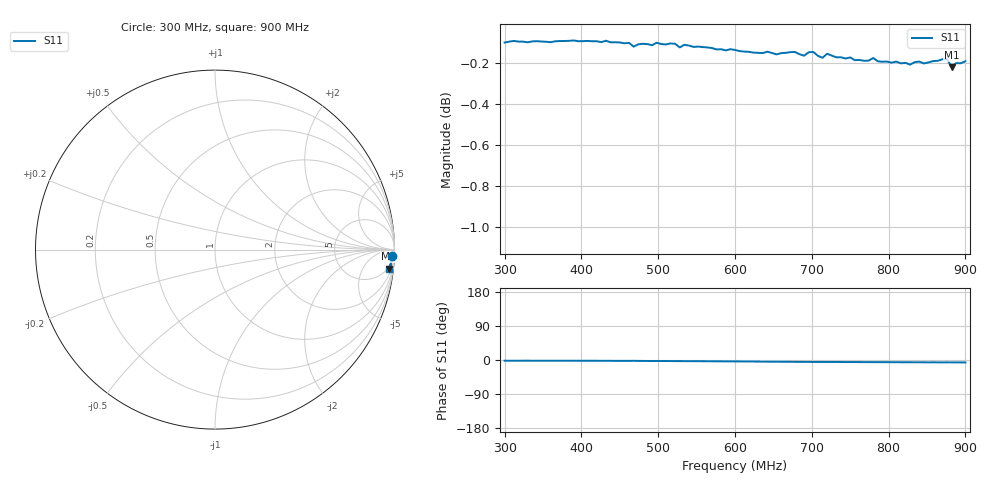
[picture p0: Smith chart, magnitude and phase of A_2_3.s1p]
# HZ S RI R 50
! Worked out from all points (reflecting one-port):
!   101 points, 300 MHz to 900 MHz, reference 50 ohm
!   lowest |S11| = -0.2 dB at 882 MHz (marker M1), VSWR 78.54, Z = 204 - j869 ohm
!   phase of S11 starts at -2 deg and turns -4 deg over the sweep
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3e8  0.9878 -0.033
3.78e8  0.9887 -0.0336
4.5e8  0.9877 -0.0382
4.62e8  0.9874 -0.04
4.68e8  0.9855 -0.0364
4.74e8  0.9865 -0.041
4.86e8  0.9865 -0.0442
5.22e8  0.9865 -0.0491
5.28e8  0.9844 -0.0502
6e8  0.9822 -0.0652
6.24e8  0.9804 -0.0688
6.3e8  0.98 -0.0734
6.54e8  0.9789 -0.0759
6.78e8  0.9797 -0.0826
6.9e8  0.9775 -0.0843
6.96e8  0.9794 -0.0844
7.02e8  0.9792 -0.0885
7.14e8  0.9761 -0.0873
7.2e8  0.9783 -0.0879
7.5e8  0.9759 -0.092
7.8e8  0.975 -0.0972
8.28e8  0.9711 -0.1
8.52e8  0.9717 -0.1061
8.58e8  0.9726 -0.104
8.7e8  0.9732 -0.1075
8.76e8  0.9736 -0.1051
8.82e8  0.9691 -0.106
9e8  0.972 -0.1088
